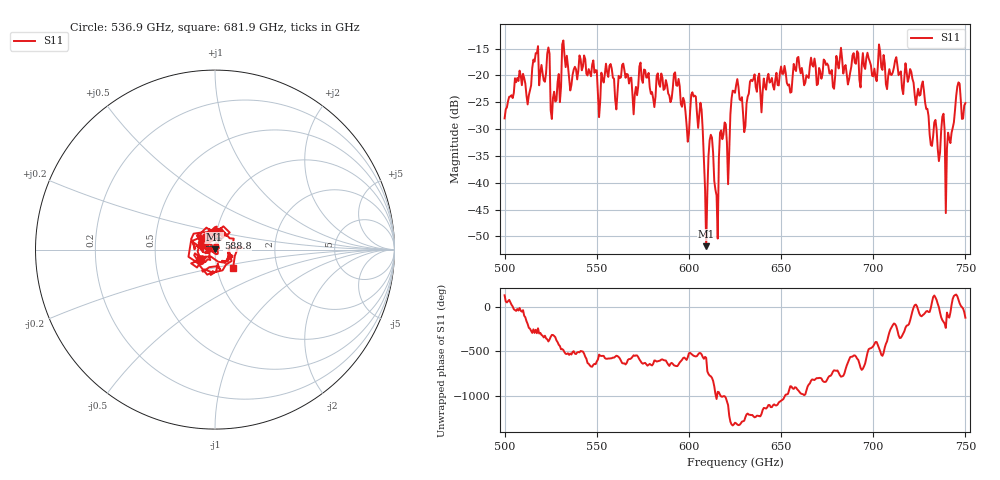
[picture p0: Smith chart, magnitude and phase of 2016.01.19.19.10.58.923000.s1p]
!Created with skrf (http://scikit-rf.org).
# GHz S RI R 50.0
!freq ReS11 ImS11
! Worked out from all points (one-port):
!   401 points, 500 GHz to 750 GHz, reference 50 ohm
!   lowest |S11| = -51.8 dB at 609.4 GHz (marker M1), VSWR 1.01, Z = 49.8 + j0.135 ohm
!   |S11| at or under -10 dB: start of sweep to end of sweep
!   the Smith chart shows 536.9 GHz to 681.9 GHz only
!   S11 on the Smith chart (normalised r, x): 536.9 GHz: 0.84, -0.10; 588.8 GHz: 1.03, +0.13; 681.9 GHz: 1.20, -0.25
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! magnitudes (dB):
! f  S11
! 500 GHz  -28.0
! 506.9 GHz  -20.5
! 513.1 GHz  -23.7
! 516.9 GHz  -15.9
! 526.2 GHz  -24.2
! 531.2 GHz  -14.2
! 536.9 GHz  -19.9
! 562.5 GHz  -20.5
! 588.8 GHz  -23.4
! 593.8 GHz  -22.0
! 599.4 GHz  -32.4
! 602.5 GHz  -23.9
! 606.2 GHz  -25.1
! 609.4 GHz  -51.8
! 611.9 GHz  -31.1
! 615 GHz  -42.4
! 618.1 GHz  -31.9
! 621.2 GHz  -40.3
! 625 GHz  -23.2
! 630.6 GHz  -29.5
! 634.4 GHz  -21.1
! 656.2 GHz  -20.3
! 681.9 GHz  -16.9
! 687.5 GHz  -19.5
! 718.8 GHz  -21.2
! 740.6 GHz  -30.7
! 745.6 GHz  -22.1
! 750 GHz  -25.2
